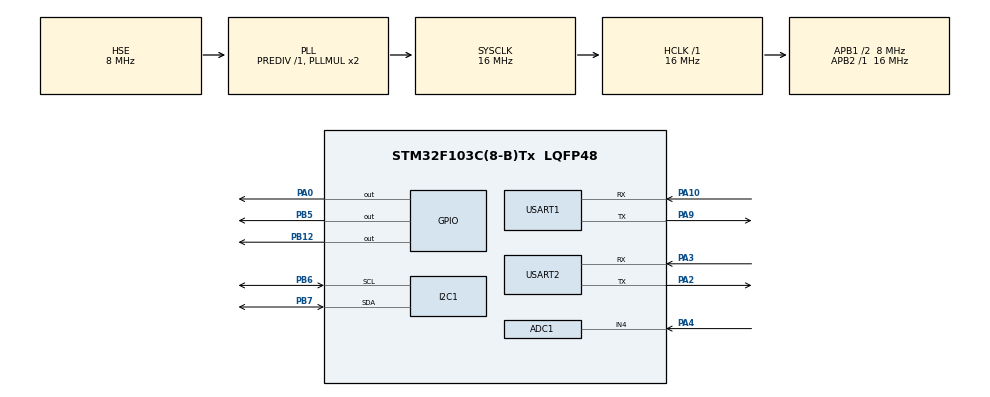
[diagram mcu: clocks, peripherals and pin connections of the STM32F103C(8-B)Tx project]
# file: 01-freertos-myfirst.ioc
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ADC1.Channel-0\#ChannelRegularConversion=ADC_CHANNEL_4
ADC1.NbrOfConversionFlag=1
ADC1.SamplingTime-0\#ChannelRegularConversion=ADC_SAMPLETIME_55CYCLES_5
ADC1.master=1
FREERTOS.Queues01=myQueue01,16,uint16_t,0,Dynamic,NULL,NULL;modbusQueue,16,16,1,Dynamic,NULL,NULL
FREERTOS.Tasks01=defaultTask,24,128,StartDefaultTask,Default,NULL,Dynamic,NULL,NULL;myTask02,23,128,StartTask02,Default,NULL,Dynamic,NULL,NULL;myTask03,24,128,StartTask03,Default,NULL,Dynamic,NULL,NULL
Mcu.Family=STM32F1
Mcu.Name=STM32F103C(8-B)Tx
Mcu.Package=LQFP48
NVIC.PriorityGroup=NVIC_PRIORITYGROUP_4
NVIC.RCC_IRQn=true\:5\:0\:true\:false\:true\:true\:true\:false\:true
NVIC.TIM3_IRQn=true\:5\:0\:true\:false\:true\:true\:true\:true\:true
NVIC.TIM4_IRQn=true\:15\:0\:false\:false\:true\:false\:false\:true\:true
NVIC.TimeBase=TIM4_IRQn
NVIC.TimeBaseIP=TIM4
NVIC.USART2_IRQn=true\:5\:0\:false\:false\:true\:true\:true\:true\:true
PA0-WKUP.Signal=GPIO_Output
PA10.Mode=Asynchronous
PA10.Signal=USART1_RX
PA13.Mode=Serial_Wire
PA13.Signal=SYS_JTMS-SWDIO
PA14.Mode=Serial_Wire
PA14.Signal=SYS_JTCK-SWCLK
PA2.Mode=Asynchronous
PA2.Signal=USART2_TX
PA3.GPIO_PuPd=GPIO_PULLUP
PA3.Mode=Asynchronous
PA3.Signal=USART2_RX
PA4.Signal=ADCx_IN4
PA9.Mode=Asynchronous
PA9.Signal=USART1_TX
PB12.GPIO_ModeDefaultOutputPP=GPIO_MODE_OUTPUT_OD
PB12.GPIO_PuPd=GPIO_PULLUP
PB12.GPIO_Speed=GPIO_SPEED_FREQ_HIGH
PB12.Signal=GPIO_Output
PB5.GPIO_ModeDefaultOutputPP=GPIO_MODE_OUTPUT_PP
PB5.PinState=GPIO_PIN_SET
PB5.Signal=GPIO_Output
PB6.Mode=I2C
PB6.Signal=I2C1_SCL
PB7.Mode=I2C
PB7.Signal=I2C1_SDA
PD0-OSC_IN.Mode=HSE-External-Oscillator
PD0-OSC_IN.Signal=RCC_OSC_IN
PD1-OSC_OUT.Mode=HSE-External-Oscillator
PD1-OSC_OUT.Signal=RCC_OSC_OUT
ProjectManager.HeapSize=0x200
ProjectManager.StackSize=0x400
ProjectManager.TargetToolchain=MDK-ARM V5.32
RCC.AHBFreq_Value=16000000
RCC.APB1CLKDivider=RCC_HCLK_DIV2
RCC.APB1Freq_Value=8000000
RCC.APB1TimFreq_Value=16000000
RCC.APB2Freq_Value=16000000
RCC.APB2TimFreq_Value=16000000
RCC.HCLKFreq_Value=16000000
RCC.PLLSourceVirtual=RCC_PLLSOURCE_HSE
RCC.SYSCLKFreq_VALUE=16000000
RCC.SYSCLKSource=RCC_SYSCLKSOURCE_PLLCLK
RCC.USBFreq_Value=16000000
SH.ADCx_IN4.0=ADC1_IN4,IN4
TIM3.Prescaler=71
USART1.VirtualMode=VM_ASYNC
USART2.VirtualMode=VM_ASYNC
VP_FREERTOS_VS_CMSIS_V2.Mode=CMSIS_V2
VP_SYS_VS_tim4.Mode=TIM4
VP_TIM3_VS_ClockSourceINT.Mode=Internal
board=custom

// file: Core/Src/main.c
/* USER CODE BEGIN Header */
/**
  ******************************************************************************
  * @file           : main.c
  * @brief          : Main program body
  ******************************************************************************
  * @attention
  *
  * Copyright (c) 2026 STMicroelectronics.
  * All rights reserved.
  *
  * This software is licensed under terms that can be found in the LICENSE file
  * in the root directory of this software component.
  * If no LICENSE file comes with this software, it is provided AS-IS.
  *
  ******************************************************************************
  */
/* USER CODE END Header */
#include "main.h"
#include "cmsis_os.h"
#include "adc.h"
#include "i2c.h"
#include "tim.h"
#include "usart.h"
#include "gpio.h"

void SystemClock_Config(void);
void MX_FREERTOS_Init(void);

int main(void)
{

  /* MCU Configuration--------------------------------------------------------*/

  /* Reset of all peripherals, Initializes the Flash interface and the Systick. */
  HAL_Init();

  /* Configure the system clock */
  SystemClock_Config();

  /* Initialize all configured peripherals */
  MX_GPIO_Init();
  MX_I2C1_Init();
  MX_USART1_UART_Init();
  MX_TIM3_Init();
  MX_USART2_UART_Init();
  MX_ADC1_Init();
  /* USER CODE BEGIN 2 */

__HAL_UART_ENABLE_IT(&huart2, UART_IT_RXNE);

  /* USER CODE END 2 */

  /* Init scheduler */
  osKernelInitialize();  /* Call init function for freertos objects (in freertos.c) */
  MX_FREERTOS_Init();

  /* Start scheduler */
  osKernelStart();
  /* We should never get here as control is now taken by the scheduler */
  /* Infinite loop */
  while (1)
  {

  }
}

void SystemClock_Config(void)
{
  RCC_OscInitTypeDef RCC_OscInitStruct = {0};
  RCC_ClkInitTypeDef RCC_ClkInitStruct = {0};
  RCC_PeriphCLKInitTypeDef PeriphClkInit = {0};

  /** Initializes the RCC Oscillators according to the specified parameters
  * in the RCC_OscInitTypeDef structure.
  */
  RCC_OscInitStruct.OscillatorType = RCC_OSCILLATORTYPE_HSE;
  RCC_OscInitStruct.HSEState = RCC_HSE_ON;
  RCC_OscInitStruct.HSEPredivValue = RCC_HSE_PREDIV_DIV1;
  RCC_OscInitStruct.HSIState = RCC_HSI_ON;
  RCC_OscInitStruct.PLL.PLLState = RCC_PLL_ON;
  RCC_OscInitStruct.PLL.PLLSource = RCC_PLLSOURCE_HSE;
  RCC_OscInitStruct.PLL.PLLMUL = RCC_PLL_MUL2;
  if (HAL_RCC_OscConfig(&RCC_OscInitStruct) != HAL_OK)
  {
    Error_Handler();
  }

  /** Initializes the CPU, AHB and APB buses clocks
  */
  RCC_ClkInitStruct.ClockType = RCC_CLOCKTYPE_HCLK|RCC_CLOCKTYPE_SYSCLK
                              |RCC_CLOCKTYPE_PCLK1|RCC_CLOCKTYPE_PCLK2;
  RCC_ClkInitStruct.SYSCLKSource = RCC_SYSCLKSOURCE_PLLCLK;
  RCC_ClkInitStruct.AHBCLKDivider = RCC_SYSCLK_DIV1;
  RCC_ClkInitStruct.APB1CLKDivider = RCC_HCLK_DIV2;
  RCC_ClkInitStruct.APB2CLKDivider = RCC_HCLK_DIV1;

  if (HAL_RCC_ClockConfig(&RCC_ClkInitStruct, FLASH_LATENCY_0) != HAL_OK)
  {
    Error_Handler();
  }
  PeriphClkInit.PeriphClockSelection = RCC_PERIPHCLK_ADC;
  PeriphClkInit.AdcClockSelection = RCC_ADCPCLK2_DIV2;
  if (HAL_RCCEx_PeriphCLKConfig(&PeriphClkInit) != HAL_OK)
  {
    Error_Handler();
  }
}

void HAL_TIM_PeriodElapsedCallback(TIM_HandleTypeDef *htim)
{
  if (htim->Instance == TIM4) {
    HAL_IncTick();
  }
}

void Error_Handler(void)
{
  __disable_irq();
  while (1)
  {
  }
}

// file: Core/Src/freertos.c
/* USER CODE BEGIN Header */
/**
  ******************************************************************************
  * File Name          : freertos.c
  * Description        : Code for freertos applications
  ******************************************************************************
  * @attention
  *
  * Copyright (c) 2026 STMicroelectronics.
  * All rights reserved.
  *
  * This software is licensed under terms that can be found in the LICENSE file
  * in the root directory of this software component.
  * If no LICENSE file comes with this software, it is provided AS-IS.
  *
  ******************************************************************************
  */
/* USER CODE END Header */

#include "FreeRTOS.h"
#include "task.h"
#include "main.h"
#include "cmsis_os.h"

/* USER CODE BEGIN Includes */
#include "driver_led.h"
#include "driver_usart.h"
#include "driver_dht11.h"
#include "driver_modbus_reg.h"
#include "usart.h"
#include "driver_oled.h"

/* USER CODE END Includes */

/* Definitions for defaultTask */
osThreadId_t defaultTaskHandle;
const osThreadAttr_t defaultTask_attributes = {
  .name = "defaultTask",
  .stack_size = 128 * 4,
  .priority = (osPriority_t) osPriorityNormal,
};
/* Definitions for myTask02 */
osThreadId_t myTask02Handle;
const osThreadAttr_t myTask02_attributes = {
  .name = "myTask02",
  .stack_size = 128 * 4,
  .priority = (osPriority_t) osPriorityNormal,
};
/* Definitions for myTask03 */
osThreadId_t myTask03Handle;
const osThreadAttr_t myTask03_attributes = {
  .name = "myTask03",
  .stack_size = 128 * 4,
  .priority = (osPriority_t) osPriorityNormal,
};
/* Definitions for myQueue01 */
osMessageQueueId_t myQueue01Handle;
const osMessageQueueAttr_t myQueue01_attributes = {
  .name = "myQueue01"
};
/* Definitions for modbusQueue */
osMessageQueueId_t modbusQueueHandle;
const osMessageQueueAttr_t modbusQueue_attributes = {
  .name = "modbusQueue"
};

/* USER CODE BEGIN FunctionPrototypes */

void Modbus_Task(void *argument);

/* USER CODE END FunctionPrototypes */

void StartDefaultTask(void *argument);
void StartTask02(void *argument);
void StartTask03(void *argument);

void MX_FREERTOS_Init(void); /* (MISRA C 2004 rule 8.1) */

void MX_FREERTOS_Init(void) {

  /* Create the queue(s) */
  /* creation of myQueue01 */
  myQueue01Handle = osMessageQueueNew (16, sizeof(uint16_t), &myQueue01_attributes);

  /* creation of modbusQueue */
  modbusQueueHandle = osMessageQueueNew (16, 16, &modbusQueue_attributes);

  /* USER CODE BEGIN RTOS_QUEUES */
  /* add queues, ... */
	 Dht11_QueueInit();

  /* USER CODE END RTOS_QUEUES */

  /* Create the thread(s) */
  /* creation of defaultTask */
  defaultTaskHandle = osThreadNew(StartDefaultTask, NULL, &defaultTask_attributes);

  /* creation of myTask02 */
  myTask02Handle = osThreadNew(StartTask02, NULL, &myTask02_attributes);

  /* creation of myTask03 */
  myTask03Handle = osThreadNew(StartTask03, NULL, &myTask03_attributes);

  /* USER CODE BEGIN RTOS_THREADS */
  /* add threads, ... */
	//osThreadNew(Led_BlinkTask, NULL, NULL);

	//Modbus_TaskHandle = osThreadNew(Modbus_Task,   NULL, &Modbus_Task_attributes);
  osThreadNew(Modbus_Task, NULL, NULL);
  /* USER CODE END RTOS_THREADS */

}

void StartDefaultTask(void *argument)
{
  /* USER CODE BEGIN StartDefaultTask */
  /* Infinite loop */
  for(;;)
  {
     //HAL_GPIO_TogglePin(GPIOA, GPIO_PIN_0);   /* ??PA0 */
    osDelay(1);
		//Led_Test();
		//Usart_Test();
  }
  /* USER CODE END StartDefaultTask */
}

void StartTask02(void *argument)
{
  /* USER CODE BEGIN StartTask02 */
  /* Infinite loop */
  for(;;)
  {
    Dht11_Task(argument);
		//osDelay(1);
    //Led_Test();
  }
  /* USER CODE END StartTask02 */
}

void StartTask03(void *argument)
{
  /* USER CODE BEGIN StartTask03 */
  /* Infinite loop */

  for(;;)
  {
    Dht11_ProcessTask(argument);
		//osDelay(1000);
  }
  /* USER CODE END StartTask03 */
}

/* USER CODE BEGIN Application */

#include "cmsis_os2.h"
#include "usart.h"
#include <string.h>

extern osMessageQueueId_t modbusQueueHandle;
extern UART_HandleTypeDef huart2;

/* CRC16 Modbus */
static uint16_t Modbus_CRC16(uint8_t *buf, uint16_t len)
{
    uint16_t crc = 0xFFFF;
    for (uint16_t i = 0; i < len; i++)
    {
        crc ^= buf[i];
        for (uint8_t j = 0; j < 8; j++)
        {
            if (crc & 0x0001)
                crc = (crc >> 1) ^ 0xA001;
            else
                crc >>= 1;
        }
    }
    return crc;
}

/* Modbus?? */
void Modbus_Parse(uint8_t *buf, uint8_t len)
{
	//HAL_UART_Transmit(&huart2, (uint8_t*)"P", 1, 100);
	 //HAL_UART_Transmit(&huart2, (uint8_t*)"P\r\n", 3, 100);
    if (len < 8) return;
    if (buf[0] != 0x01) return;

    uint16_t crc_calc = Modbus_CRC16(buf, len - 2);
    uint16_t crc_recv = buf[len - 2] | (buf[len - 1] << 8);
    if (crc_calc != crc_recv) return;

    if (buf[1] == 0x03)
    {
        uint16_t start_addr = (buf[2] << 8) | buf[3];
        uint16_t reg_count  = (buf[4] << 8) | buf[5];

        uint8_t resp[32];
        uint8_t idx = 0;
        resp[idx++] = 0x01;
        resp[idx++] = 0x03;
        resp[idx++] = reg_count * 2;

        for (uint16_t i = 0; i < reg_count; i++)
        {
            uint16_t val = ModbusReg_GetHolding(start_addr + i);
            resp[idx++] = (val >> 8) & 0xFF;
            resp[idx++] = val & 0xFF;
        }

        uint16_t crc = Modbus_CRC16(resp, idx);
        resp[idx++] = crc & 0xFF;
        resp[idx++] = (crc >> 8) & 0xFF;

        HAL_UART_Transmit(&huart2, resp, idx, 100);
    }
}

/* Modbus?? */
void Modbus_Poll(void)
{
    uint8_t frame[16];

    if (osMessageQueueGet(modbusQueueHandle, frame, NULL, 0) == osOK)
    {
        Modbus_Parse(frame, 8);
    }
}

void Modbus_Task(void *argument)
{
    for (;;)
    {
        Modbus_Poll();      // ??????,??,??
        osDelay(10);        // ? 10ms ???
    }
}
/* USER CODE END Application */
